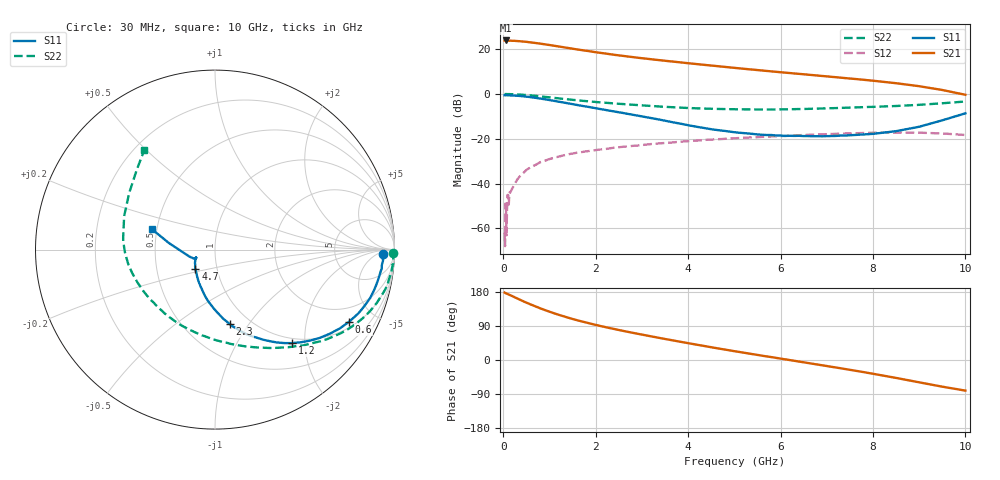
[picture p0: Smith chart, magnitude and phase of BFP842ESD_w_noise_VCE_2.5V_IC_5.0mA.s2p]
! Infineon Technologies  Discrete & RF Semiconductors
! BFP842ESD
! VCE =  2.5 V,  IC =  5.0 mA
! Common Emitter S-Parameters:  May 2012
# GHz  S  MA  R  50
!  f  S11  S21  S12  S22
! GHz  MAG  ANG  MAG  ANG  MAG  ANG  MAG  ANG
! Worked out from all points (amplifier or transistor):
!   99 points, 30 MHz to 10 GHz, reference 50 ohm
!   highest |S21| = 23.9 dB at 60 MHz (marker M1)
!   |S21| within 3 dB of that: start of sweep to 1.296 GHz
!   unconditionally stable (mu >= 1): 3.603 GHz to end of sweep
!   at 350 MHz: K = 0.20, MSG = 30.3 dB, |S12| = -37.0 dB
!   at 3.5 GHz: K = 0.98, MSG = 18.4 dB, |S12| = -21.9 dB
!   at 10 GHz: K = 1.98, MAG = 3.3 dB, |S12| = -18.3 dB
!   lowest NFmin = 0.41 dB at 450 MHz
!   S11 on the Smith chart (normalised r, x): 30 MHz: 27, -11; 600 MHz: 1.24, -3.56; 1.2 GHz: 0.91, -1.74; 2.3 GHz: 0.81, -0.82; 4.7 GHz: 0.79, -0.17; 10 GHz: 0.47, +0.12
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0.03  0.9384 -1.4  15.59 177.9  0.0008 164.4  0.9946 -1.0
0.04  0.9375 -1.9  15.55 177.2  0.0004 36.2  0.9952 -1.3
0.05  0.9379 -2.7  15.45 176.4  0.0036 38.7  0.9948 -2.0
0.06  0.9338 -3.1  15.69 175.9  0.003 102.3  0.9996 -1.8
0.07  0.9386 -3.1  15.54 175.5  0.0007 57.7  0.9952 -2.4
0.09  0.9364 -4.5  15.38 174.6  0.0055 92.4  0.9942 -3.2
0.11  0.9337 -5.5  15.65 173.1  0.0055 65.1  0.9938 -3.9
0.12  0.9345 -6.1  15.56 172.8  0.0034 106.4  0.9964 -4.5
0.25  0.9198 -12.3  15.39 165.4  0.0099 76.8  0.9836 -9.5
0.45  0.8842 -21.9  14.76 154.1  0.0178 73.1  0.956 -16.7
0.6  0.8484 -28.3  14.17 146.3  0.0234 69.6  0.9286 -21.8
0.9  0.7628 -40.2  12.87 131.9  0.0323 61.6  0.8632 -30.9
1.2  0.6744 -50.6  11.51 119.3  0.0399 56.3  0.7994 -38.6
1.7  0.5443 -64.5  9.55 101.8  0.0505 48.3  0.7065 -49.4
2.3  0.4244 -78.6  7.776 84.4  0.0611 41.2  0.6281 -60.8
2.8  0.3443 -88.8  6.674 71.8  0.0694 36.0  0.5756 -70.2
3.4  0.2658 -101.9  5.67 57.8  0.0794 29.8  0.5242 -82.5
4.7  0.1535 -135.1  4.122 29.5  0.0984 15.5  0.4628 -112.9
5.1  0.1364 -144.4  3.75 21.4  0.1039 10.9  0.4547 -121.9
6.7  0.114 -156.8  2.642 -10.0  0.1233 -8.1  0.4691 -157.0
8.5  0.1478 -164.9  1.742 -47.3  0.1379 -36.3  0.5396 159.7
10  0.3704 162.0  0.961 -80.8  0.1214 -66.3  0.6797 125.5
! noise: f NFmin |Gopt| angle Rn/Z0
0.45  0.41  0.38  3  0.11
0.9  0.43  0.4  8  0.11
1.5  0.46  0.41  19  0.11
1.9  0.48  0.39  29  0.11
2.4  0.52  0.36  42  0.1
3.5  0.63  0.26  79  0.08
4  0.66  0.22  100  0.08
5  0.72  0.2  119  0.07
5.5  0.84  0.18  145  0.07
6  0.97  0.16  155  0.08
